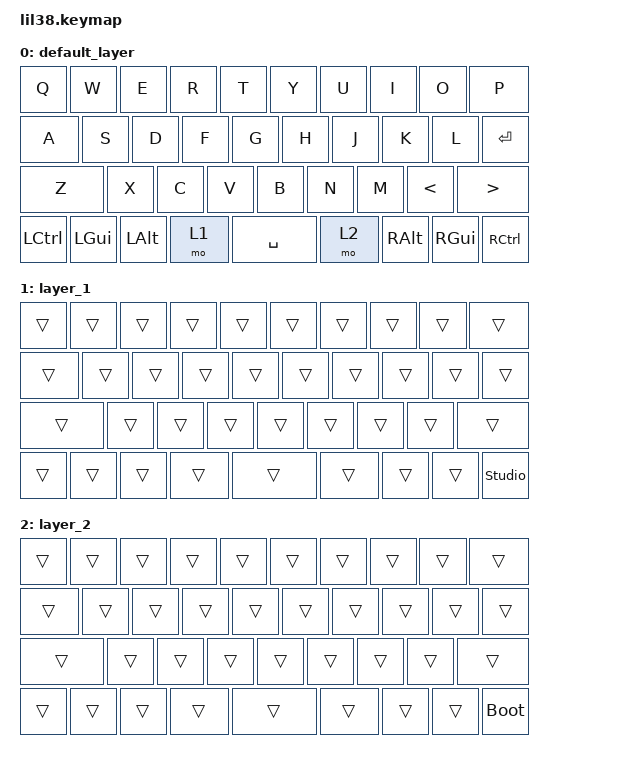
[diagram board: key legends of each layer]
#include <behaviors.dtsi>
#include <dt-bindings/zmk/keys.h>

/ {
        combos {
        compatible = "zmk,combos";
            combo_esc {
                timeout-ms = <100>;
                key-positions = <0 1>;
                bindings = <&kp ESC>;
            };
            combo_backspace {
                timeout-ms = <100>;
                key-positions = <8 9>;
                bindings = <&kp BSPC>;
            };
            combo_tab {
                timeout-ms = <100>;
                key-positions = <10 11>;
                bindings = <&kp TAB>;
            };
            combo_semic {
                timeout-ms = <100>;
                key-positions = <18 19>;
                bindings = <&kp SEMI>;
            };
            combo_tilda {
                timeout-ms = <100>;
                key-positions = <0 10>;
                bindings = <&kp GRAVE>;
            };
            combo_slash {
                timeout-ms = <100>;
                key-positions = <0 10>;
                bindings = <&kp SLASH>;
            };
        };
    keymap {
        compatible = "zmk,keymap";

        default_layer {
            bindings = <
                &kp Q       &kp W    &kp E      &kp R    &kp T      &kp Y       &kp U       &kp I       &kp O       &kp P
                &kp A       &kp S    &kp D      &kp F    &kp G      &kp H       &kp J       &kp K       &kp L       &kp RET    
                &kp Z       &kp X    &kp C      &kp V    &kp B      &kp N       &kp M       &kp LT      &kp GT
                &kp LCTRL    &kp LGUI &kp LALT   &mo 1    &kp SPACE    &mo 2       &kp RALT    &kp RGUI    &kp RCTRL
            >;
        };

        layer_1 {
            bindings = <
                &trans      &trans   &trans     &trans   &trans     &trans      &trans      &trans      &trans     &trans
                &trans      &trans   &trans     &trans   &trans     &trans      &trans      &trans      &trans     &trans
                &trans      &trans   &trans     &trans   &trans     &trans      &trans      &trans      &trans     
                &trans      &trans   &trans     &trans   &trans     &trans      &trans      &trans      &studio_unlock      
            >;
        };

        layer_2 {
            bindings = <
                &trans      &trans   &trans     &trans   &trans     &trans      &trans      &trans      &trans     &trans
                &trans      &trans   &trans     &trans   &trans     &trans      &trans      &trans      &trans     &trans
                &trans      &trans   &trans     &trans   &trans     &trans      &trans      &trans      &trans     
                &trans      &trans   &trans     &trans   &trans     &trans      &trans      &trans      &bootloader     
            >;
        };

        extra_1{
            status = "reserved";
        };

        extra_2{
            status = "reserved";
        };

        extra_3{
            status = "reserved";
        };

        extra_4{
            status = "reserved";
        };

        extra_5{
            status = "reserved";
        };

    };
 };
